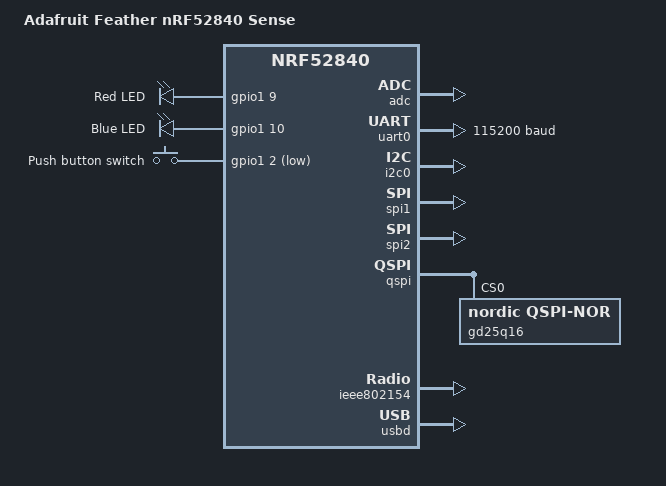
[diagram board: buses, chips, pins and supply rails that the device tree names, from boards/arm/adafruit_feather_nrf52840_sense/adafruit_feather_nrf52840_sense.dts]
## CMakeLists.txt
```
cmake_minimum_required(VERSION 3.20.0)

list(APPEND mcuboot_OVERLAY_CONFIG
  "${CMAKE_CURRENT_LIST_DIR}/mcuboot.conf"
)

list(APPEND DTC_OVERLAY_FILE
  "${CMAKE_CURRENT_LIST_DIR}/proximity.overlay"
  "${CMAKE_CURRENT_LIST_DIR}/usb_cdc.overlay"
)

find_package(Zephyr REQUIRED HINTS $ENV{ZEPHYR_BASE})
project(hello_world)

target_include_directories(app PRIVATE
  "src"
)

if(CONFIG_BENCHMARK_CMSIS_DSP_CODE)
  target_sources(app PRIVATE
    "src/Device.hpp"
    "src/Device.cpp"
    "src/Serial.hpp"
    "src/Serial.cpp"
    "src/IFilter.hpp"
    "src/IIRFilter.hpp"
    "src/MovingAverageFilter.hpp"
    "src/ITransform.hpp"
    "src/Fft.hpp"
    "src/Benchmark.hpp"
    "src/CycleCounter.hpp"
    "src/BenchmarkDSP.cpp"
  )
else()
  target_sources(app PRIVATE
    "src/Color.hpp"
    "src/Color.cpp"
    "src/Timer.hpp"
    "src/Timer.cpp"
    "src/Device.hpp"
    "src/Device.cpp"
    "src/Serial.hpp"
    "src/Serial.cpp"
    "src/Proximity.hpp"
    "src/Proximity.cpp"
    "src/Neopixel.hpp"
    "src/Neopixel.cpp"
    "src/IFilter.hpp"
    "src/IIRFilter.hpp"
    "src/MovingAverageFilter.hpp"
    "src/ITransform.hpp"
    "src/Fft.hpp"
    "src/PpgProcessor.hpp"
    "src/PpgProcessor.cpp"
    "src/HrProcessor.hpp"
    "src/DataCollector.hpp"
    "src/DataCollector.cpp"
    "src/Application.hpp"
    "src/Application.cpp"
    "src/Benchmark.hpp"
    "src/CycleCounter.hpp"
    "src/main.cpp"
  )
endif(CONFIG_BENCHMARK_CMSIS_DSP_CODE)

set_property(TARGET app PROPERTY INTERPROCEDURAL_OPTIMIZATION True)
```

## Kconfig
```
config BENCHMARK_CMSIS_DSP_CODE
	bool "Build special target to benchmark CMSIS DSP code"
	default false
	help
      Instead of building main app target, build specialized target
      for performing code benchmarking

source "Kconfig.zephyr"
```

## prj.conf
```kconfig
# enable bootloader
CONFIG_BOOTLOADER_MCUBOOT=y

# increase main thread stack size
CONFIG_MAIN_STACK_SIZE=16384

# enable C++ and C++ stdlib
CONFIG_CPLUSPLUS=y
CONFIG_STD_CPP20=y
CONFIG_NEWLIB_LIBC=y
CONFIG_NEWLIB_LIBC_NANO=n
CONFIG_LIB_CPLUSPLUS=y

# enable CMSIS-DSP
CONFIG_CMSIS_DSP=y
CONFIG_CMSIS_DSP_FILTERING=y
CONFIG_CMSIS_DSP_TRANSFORM=y
CONFIG_CMSIS_DSP_COMPLEXMATH=y
CONFIG_CMSIS_DSP_TABLES_ALL_FAST=n
CONFIG_CMSIS_DSP_TABLES_ALL_FFT=n
CONFIG_CMSIS_DSP_TABLES_RFFT_FAST_F32_1024=y

# enable logging
CONFIG_LOG=y
CONFIG_LOG_BACKEND_SHOW_COLOR=y
CONFIG_LOG_BUFFER_SIZE=16384

#enable GPIO driver
CONFIG_GPIO=y

# enable I2C and Sensor driver for VCNL4040 proximity
CONFIG_I2C=y
CONFIG_SENSOR=y
# disable VCNL4040 ALS
CONFIG_VCNL4040_ENABLE_ALS=n

# enable SPI and driver for Neopixel
CONFIG_SPI=y
CONFIG_LED_STRIP=y
CONFIG_WS2812_STRIP=y
CONFIG_WS2812_STRIP_SPI=y

# enable USB stack for composite USB CDC and DFU
CONFIG_USB_DEVICE_STACK=y
CONFIG_USB_DEVICE_PRODUCT="VCNL4040 PPG"
CONFIG_USB_DEVICE_PID=0x0001
CONFIG_USB_DEVICE_INITIALIZE_AT_BOOT=n
# CDC configs
CONFIG_USB_COMPOSITE_DEVICE=y
CONFIG_SERIAL=y
CONFIG_CONSOLE=y
CONFIG_UART_CONSOLE=y
CONFIG_UART_LINE_CTRL=y
# DFU configs
CONFIG_USB_DFU_CLASS=y
CONFIG_USB_DFU_ENABLE_UPLOAD=y
CONFIG_USB_DFU_REBOOT=y
CONFIG_USB_DFU_PERMANENT_DOWNLOAD=y
CONFIG_FLASH=y
CONFIG_FLASH_MAP=y
CONFIG_STREAM_FLASH=y
CONFIG_IMG_MANAGER=y
CONFIG_FLASH_PAGE_LAYOUT=y

# custom configs
# enable this to build CMSIS DSP benchmark code
CONFIG_BENCHMARK_CMSIS_DSP_CODE=n
```

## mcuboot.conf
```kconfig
CONFIG_PM_PARTITION_SIZE_MCUBOOT=0x13000
CONFIG_BOOT_MAX_IMG_SECTORS=256
# The build won't fit on the partition allocated for it without size
# optimizations.
CONFIG_SIZE_OPTIMIZATIONS=y
# MCUBoot serial
CONFIG_MCUBOOT_SERIAL=y
CONFIG_BOOT_SERIAL_CDC_ACM=y
# Enable LED
CONFIG_MCUBOOT_INDICATION_LED=y
# Signature file
CONFIG_BOOT_SIGNATURE_TYPE_RSA=y
CONFIG_BOOT_SIGNATURE_KEY_FILE="root-rsa-2048.pem"
```

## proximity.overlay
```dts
&i2c0 {
	vcnl4040@60 {
		compatible = "vishay,vcnl4040";
		reg = <0x60>;
		led-current = <200>;
		led-duty-cycle = <40>;
		proximity-it = "8";
	};
};
```

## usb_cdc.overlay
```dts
&zephyr_udc0 {
	cdc_acm_uart0: cdc_acm_uart0 {
		compatible = "zephyr,cdc-acm-uart";
	};
};
```

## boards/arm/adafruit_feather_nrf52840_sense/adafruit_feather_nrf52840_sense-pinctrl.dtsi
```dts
/*
 * Copyright (c) 2022 Nordic Semiconductor
 * SPDX-License-Identifier: Apache-2.0
 */

&pinctrl {
	uart0_default: uart0_default {
		group1 {
			psels = <NRF_PSEL(UART_TX, 0, 25)>,
				<NRF_PSEL(UART_RX, 0, 24)>;
		};
	};

	uart0_sleep: uart0_sleep {
		group1 {
			psels = <NRF_PSEL(UART_TX, 0, 25)>,
				<NRF_PSEL(UART_RX, 0, 24)>;
			low-power-enable;
		};
	};

	i2c0_default: i2c0_default {
		group1 {
			psels = <NRF_PSEL(TWIM_SDA, 0, 12)>,
				<NRF_PSEL(TWIM_SCL, 0, 11)>;
		};
	};

	i2c0_sleep: i2c0_sleep {
		group1 {
			psels = <NRF_PSEL(TWIM_SDA, 0, 12)>,
				<NRF_PSEL(TWIM_SCL, 0, 11)>;
			low-power-enable;
		};
	};
	
	spi1_default: spi1_default {
		group1 {
			psels = <NRF_PSEL(SPIM_SCK, 0, 14)>,
				<NRF_PSEL(SPIM_MOSI, 0, 13)>,
				<NRF_PSEL(SPIM_MISO, 0, 15)>;
		};
	};

	spi1_sleep: spi1_sleep {
		group1 {
			psels = <NRF_PSEL(SPIM_SCK, 0, 14)>,
				<NRF_PSEL(SPIM_MOSI, 0, 13)>,
				<NRF_PSEL(SPIM_MISO, 0, 15)>;
			low-power-enable;
		};
	};
	
	spi2_default: spi2_default {
		group1 {
			psels = <NRF_PSEL(SPIM_SCK, 0, 17)>,
				<NRF_PSEL(SPIM_MOSI, 0, 16)>,
				<NRF_PSEL(SPIM_MISO, 0, 18)>;
		};
	};

	spi2_sleep: spi2_sleep {
		group1 {
			psels = <NRF_PSEL(SPIM_SCK, 0, 17)>,
				<NRF_PSEL(SPIM_MOSI, 0, 16)>,
				<NRF_PSEL(SPIM_MISO, 0, 18)>;
			low-power-enable;
		};
	};

	qspi_default: qspi_default {
		group1 {
			psels = <NRF_PSEL(QSPI_SCK, 0, 19)>,
				<NRF_PSEL(QSPI_IO0, 0, 17)>,
				<NRF_PSEL(QSPI_IO1, 0, 22)>,
				<NRF_PSEL(QSPI_IO2, 0, 23)>,
				<NRF_PSEL(QSPI_IO3, 0, 21)>,
				<NRF_PSEL(QSPI_CSN, 0, 20)>;
		};
	};

	qspi_sleep: qspi_sleep {
		group1 {
			psels = <NRF_PSEL(QSPI_SCK, 0, 19)>,
				<NRF_PSEL(QSPI_IO0, 0, 17)>,
				<NRF_PSEL(QSPI_IO1, 0, 22)>,
				<NRF_PSEL(QSPI_IO2, 0, 23)>,
				<NRF_PSEL(QSPI_IO3, 0, 21)>,
				<NRF_PSEL(QSPI_CSN, 0, 20)>;
			low-power-enable;
		};
	};

};
```

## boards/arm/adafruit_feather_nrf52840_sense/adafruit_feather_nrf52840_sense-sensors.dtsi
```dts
#include <zephyr/dt-bindings/led/led.h>

&spi2 {
	neopixel: ws2812@0 {
		compatible = "worldsemi,ws2812-spi";

		/* SPI */
		reg = <0>; /* ignored, but necessary for SPI bindings */
		spi-max-frequency = <4000000>;

		/* WS2812 */
		chain-length = <1>; /* arbitrary; change at will */
		spi-one-frame = <0x70>;
		spi-zero-frame = <0x40>;
		color-mapping = <LED_COLOR_ID_GREEN
				LED_COLOR_ID_RED
				LED_COLOR_ID_BLUE>;
	};
};

/ {
	aliases {
		neopixel = &neopixel;
	};
};
```

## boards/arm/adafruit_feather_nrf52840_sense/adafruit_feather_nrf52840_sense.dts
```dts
/*
 * Copyright (c) 2020 Tobias Svehagen
 *
 * SPDX-License-Identifier: Apache-2.0
 */

/dts-v1/;
#include <nordic/nrf52840_qiaa.dtsi>
#include "feather_connector.dtsi"
#include "adafruit_feather_nrf52840_sense-pinctrl.dtsi"
#include "adafruit_feather_nrf52840_sense-sensors.dtsi"

/ {
	model = "Adafruit Feather nRF52840 Sense";
	compatible = "adafruit,feather-nrf52840";

	chosen {
		zephyr,console = &uart0;
		zephyr,shell-uart = &uart0;
		zephyr,uart-mcumgr = &uart0;
		zephyr,bt-mon-uart = &uart0;
		zephyr,bt-c2h-uart = &uart0;
		zephyr,sram = &sram0;
		zephyr,flash = &flash0;
		zephyr,code-partition = &slot0_partition;
		zephyr,ieee802154 = &ieee802154;
	};

	leds {
		compatible = "gpio-leds";
		led0: led_0 {
			gpios = <&gpio1 9 0>;
			label = "Red LED";
		};
		led1: led_1 {
			gpios = <&gpio1 10 0>;
			label = "Blue LED";
		};
	};

	buttons {
		compatible = "gpio-keys";
		button0: button_0 {
			gpios = <&gpio1 2 (GPIO_PULL_UP | GPIO_ACTIVE_LOW)>;
			label = "Push button switch";
		};
	};

	/* These aliases are provided for compatibility with samples */
	aliases {
		led0 = &led0;
		led1 = &led1;
		sw0 = &button0;
		watchdog0 = &wdt0;
		spi-flash0 = &gd25q16;
		bootloader-led0 = &led0;
		mcuboot-button0 = &button0;
		mcuboot-led0 = &led0;
	};
};

&adc {
	status = "okay";
};

&gpiote {
	status = "okay";
};

&gpio0 {
	status = "okay";
};

&gpio1 {
	status = "okay";
};

&uart0 {
	compatible = "nordic,nrf-uart";
	current-speed = <115200>;
	status = "okay";
	pinctrl-0 = <&uart0_default>;
	pinctrl-1 = <&uart0_sleep>;
	pinctrl-names = "default", "sleep";
};

&i2c0 {
	compatible = "nordic,nrf-twi";
	status = "okay";
	pinctrl-0 = <&i2c0_default>;
	pinctrl-1 = <&i2c0_sleep>;
	pinctrl-names = "default", "sleep";
};

&spi1 {
	compatible = "nordic,nrf-spi";
	status = "okay";
	pinctrl-0 = <&spi1_default>;
	pinctrl-1 = <&spi1_sleep>;
	pinctrl-names = "default", "sleep";
};

&spi2 {
	compatible = "nordic,nrf-spi";
	status = "okay";
	pinctrl-0 = <&spi2_default>;
	pinctrl-1 = <&spi2_sleep>;
	pinctrl-names = "default", "sleep";
};

&qspi {
	status = "okay";
	pinctrl-0 = <&qspi_default>;
	pinctrl-1 = <&qspi_sleep>;
	pinctrl-names = "default", "sleep";
	gd25q16: gd25q16@0 {
		compatible = "nordic,qspi-nor";
		reg = <0>;
		writeoc = "pp4o";
		readoc = "read4io";
		sck-frequency = <16000000>;
		jedec-id = [c8 40 15];
		size = <16777216>;
		has-dpd;
		t-enter-dpd = <20000>;
		t-exit-dpd = <20000>;
		quad-enable-requirements = "S2B1v1";
	};
};

&ieee802154 {
	status = "okay";
};

&flash0 {

	partitions {
		compatible = "fixed-partitions";
		#address-cells = <1>;
		#size-cells = <1>;

		boot_partition: partition@0 {
			label = "mcuboot";
			reg = <0x00000000 0x0000C000>;
		};
		slot0_partition: partition@C000 {
			label = "image-0";
			reg = <0x0000C000 0x00067000>;
		};
		slot1_partition: partition@73000 {
			label = "image-1";
			reg = <0x00073000 0x00067000>;
		};
		scratch_partition: partition@da000 {
			label = "image-scratch";
			reg = <0x000da000 0x0001e000>;
		};

		/*
		 * The flash starting at 0x000f8000 and ending at
		 * 0x000fffff is reserved for use by the application.
		 */

		/* Storage partition will be used by FCB/NFFS/NVS if enabled. */
		storage_partition: partition@f8000 {
			label = "storage";
			reg = <0x000f8000 0x00008000>;
		};
	};
};

zephyr_udc0: &usbd {
	compatible = "nordic,nrf-usbd";
	status = "okay";
};
```

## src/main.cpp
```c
#include <zephyr/logging/log.h>
#include <zephyr/kernel.h>

LOG_MODULE_REGISTER(ppg, LOG_LEVEL_INF);

#include "Application.hpp"

int main()
{
    Application app;

    if(!app.run())
    {
        LOG_ERR("Can't run app.");
        return -1;
    }
}
```

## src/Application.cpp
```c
#include <cstdio>

#include <zephyr/device.h>
#include <zephyr/logging/log.h>

LOG_MODULE_DECLARE(ppg);

#include "Application.hpp"

Application::Application()
    : prox_{DEVICE_DT_GET_ONE(vishay_vcnl4040)}
    , neopixel_{DEVICE_DT_GET(DT_ALIAS(neopixel))}
    , serial_{DEVICE_DT_GET_ONE(zephyr_cdc_acm_uart)}
    , ppg_{prox_}
    , hr_{sampleRate_}
    , dataCollector_{ppg_}
{ }

bool Application::run()
{
    // init
    LOG_INF("Initializing hardware...");
    auto status = init();
    if(!status) return false;
    LOG_INF("Hardware initialization successful");
    // main loop
    while(true)
    {
        using namespace std::chrono_literals;
        if(!serial_.isOpen())
        {
            dataCollector_.stop();
            neopixel_.setColor(Color::Color{10, 0, 0});
            // wait for DTR
            LOG_INF("Waiting for USB connection");
            while(!serial_.isOpen())
            {
                k_msleep(100);
            }
            neopixel_.setColor(Color::Color{0, 10, 0});
            LOG_INF("USB connected");
            dataCollector_.start(sampleTime_);
        }
        else
        {
            const auto ppgMeasurement = ppg_.getMeasurement(10ms);
            if(ppgMeasurement.has_value())
            {
                auto bpm = hr_.process(ppgMeasurement.value());
                auto len = snprintf(serialBuf_, sizeof(serialBuf_)
                                , "%" PRIu64 ",%d,%d,%d\r\n"
                                , ppgMeasurement.value().timestamp
                                , ppgMeasurement.value().raw
                                , ppgMeasurement.value().filtered
                                , bpm);
                serial_.write(reinterpret_cast<std::byte*>(serialBuf_), len);
            }
        }
    }
    return true; //< should never reach this point
}

bool Application::init()
{
    if (!prox_.isReady())
    {
        LOG_ERR("Proximity sensor not ready.");
        return false;
    }

    if (!neopixel_.isReady())
    {
        LOG_ERR("Neopixel not ready.");
        return false;
    }

    if(!serial_.enable())
    {
        LOG_ERR("Can't enable serial via USB CDC.");
        return false;
    }
    return true;
}
```

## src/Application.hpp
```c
#ifndef _PPG_APPLICATION_HPP
#define _PPG_APPLICATION_HPP

#include <chrono>

#include "Proximity.hpp"
#include "Neopixel.hpp"
#include "Serial.hpp"

#include "PpgProcessor.hpp"
#include "DataCollector.hpp"
#include "HrProcessor.hpp"

class Application
{
    public:
        Application();
        bool run();
    private:
        bool init();
    private:
        // hardware
        Hardware::Proximity prox_;
        Hardware::Neopixel neopixel_;
        Hardware::Serial serial_;
        // processors
        Processor::Ppg ppg_;
        static constexpr size_t hrSamples_ = 100;
        static constexpr size_t hrSamplesHistory_ = 200;
        Processor::HeartRate<hrSamples_, hrSamplesHistory_> hr_;
        DataCollector dataCollector_;
        // buffers, state vars, etc.
        static constexpr std::size_t serialBufSize_ = 64;
        char serialBuf_[serialBufSize_]{};
    private:
        // configs
        static constexpr uint8_t sampleRate_ = 50; //< Hz
        static constexpr auto sampleTime_ = std::chrono::milliseconds(1000 / sampleRate_);
};

#endif //_PPG_APPLICATION_HPP
```

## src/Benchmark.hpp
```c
#ifndef _PPG_BENCHMARK_HPP
#define _PPG_BENCHMARK_HPP

#include <cstdint>
#include <cstddef>
#include <chrono>
#include <tuple>
#include <type_traits>
#include <utility> //< std::forward

namespace Benchmark
{
    template <typename Rep, size_t CoreFrequency>
    class ICycleCounter
    {
        public:
            using period = std::ratio<1, CoreFrequency>;
            using rep = Rep;
            using duration = std::chrono::duration<rep, period>;
            using time_point = std::chrono::time_point<ICycleCounter>;
            static constexpr bool is_steady = true;
        public:
            virtual time_point now() noexcept = 0;
    };

        // non-void functions
    template <typename CounterT, typename Func, typename... Args
            , typename R = std::invoke_result_t<Func, Args...>
            , std::enable_if_t<!std::is_void_v<R>, int> = 0>
    decltype(auto) benchmark(CounterT& counter, Func&& f, Args&&... args)
    {
        auto startTime = counter.now();
        auto retVal = f(std::forward<Args>(args)...);
        auto endTime = counter.now();
        return std::tuple{endTime - startTime, retVal};
    }

    // void functions
    template <typename CounterT, typename Func, typename... Args
            , typename R = std::invoke_result_t<Func, Args...>
            , std::enable_if_t<std::is_void_v<R>, int> = 0>
    decltype(auto) benchmark(CounterT& counter, Func&& f, Args&&... args)
    {
        auto startTime = counter.now();
        f(std::forward<Args>(args)...);
        auto endTime = counter.now();
        return endTime - startTime;
    }
}

#endif //_PPG_BENCHMARK_HPP
```

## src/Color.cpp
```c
#include "Color.hpp"

namespace Color
{
    void Color::set(const uint8_t red, const uint8_t green, const uint8_t blue)
    {
        r_ = red;
        g_ = green;
        b_ = blue;
    }
}
```

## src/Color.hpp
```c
#ifndef _PPG_COLOR_HPP
#define _PPG_COLOR_HPP

#include <cstdint>
#include <string_view>

namespace Color
{
    class Color
    {
    public:
        constexpr Color(const uint8_t red = 0, const uint8_t green = 0, const uint8_t blue = 0)
            : r_{red}, g_{green}, b_{blue}
        {
        }

        void set(const uint8_t red = 0, const uint8_t green = 0, const uint8_t blue = 0);
        constexpr uint8_t getRed() const { return r_; }
        constexpr uint8_t getGreen() const { return g_; }
        constexpr uint8_t getBlue() const { return b_; }

    private:
        uint8_t r_, g_, b_;
    };
}

#endif //_PPG_COLOR_HPP
```

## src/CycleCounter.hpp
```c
#ifndef _PPG_CYCLE_COUNTER_HPP
#define _PPG_CYCLE_COUNTER_HPP

#include <zephyr/kernel.h>

#include "Benchmark.hpp"

static constexpr uint32_t CpuFrequency = 64000000; //< 64 MHz

class CycleCounter
    : public Benchmark::ICycleCounter<
        uint32_t
        , CpuFrequency
    >
{
    public:
        CycleCounter()
        {
            // enable CYCCNT
            CoreDebug->DEMCR |= CoreDebug_DEMCR_TRCENA_Msk;
            DWT->CTRL |= DWT_CTRL_CYCCNTENA_Msk;
        }

        time_point now() noexcept override
        {
            return time_point{ duration{ DWT->CYCCNT } };
        }
};

#endif //_PPG_CYCLE_COUNTER_HPP
```

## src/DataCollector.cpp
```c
#include "DataCollector.hpp"

#include <zephyr/kernel.h>
#include <zephyr/logging/log.h>

LOG_MODULE_DECLARE(ppg);

DataCollector::DataCollector(Processor::Ppg& ppg)
    : ppg_{ppg}
{ }

void DataCollector::start(const std::chrono::milliseconds& samplingTime)
{
    sampleTimer_.start(samplingTime, [this] { collectData(); });
}

void DataCollector::stop()
{
    sampleTimer_.stop();
}

void DataCollector::collectData()
{
    auto timestamp = static_cast<uint64_t>(k_cycle_get_32()) * 1000000U
                    / sys_clock_hw_cycles_per_sec();
    if(!ppg_.measure(timestamp))
    {
        LOG_WRN("Couldn't measure ppg");
    }
}
```

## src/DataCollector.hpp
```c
#ifndef _PPG_DATA_COLLECTOR_HPP
#define _PPG_DATA_COLLECTOR_HPP

#include <chrono>

#include "Timer.hpp"
#include "PpgProcessor.hpp"

class DataCollector
{
    public:
        DataCollector(Processor::Ppg& ppg);
        void start(const std::chrono::milliseconds& samplingTime);
        void stop();
    private:
        void collectData();
    private:
        Hardware::Timer sampleTimer_;
        Processor::Ppg& ppg_;
};

#endif //_PPG_DATA_COLLECTOR_HPP
```

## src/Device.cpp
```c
#include "Device.hpp"

namespace Hardware
{
    Device::Device(const device* const dev)
        : device_{dev}
    { }

    bool Device::isReady() const
    {
        return device_is_ready(device_);
    }

    const device* Device::getDevicePointer()
    {
        return device_;
    }
}
```

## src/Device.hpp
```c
#ifndef _PPG_DEVICE_HPP
#define _PPG_DEVICE_HPP

#include <zephyr/device.h>

namespace Hardware
{
    class Device
    {
        public:
            Device(const device* const dev);
            bool isReady() const;
            const device* getDevicePointer();
        protected:
            const device* const device_;
    };
}


#endif //_PPG_DEVICE_HPP
```

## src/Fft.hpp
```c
#ifndef _PPG_FFT_HPP
#define _PPG_FFT_HPP

#include <cstdint>
#include <cmath>

#include <arm_math.h>

#include "ITransform.hpp"

namespace Dsp
{
    template <uint16_t Length>
    class Fft
        : public ITransform<float32_t, float32_t, Length, Length>
    {
        public:
            using InputT = ITransform<float32_t, float32_t, Length, Length>::InputT;
            using OutputT = ITransform<float32_t, float32_t, Length, Length>::OutputT;
            using MagnitudeT = std::array<float32_t, Length/2>;
            using AngleT = std::array<float32_t, Length/2>;

            Fft()
            {
                static_assert(Length && !(Length & (Length - 1)), "FFT Length must be power of 2");
                arm_rfft_fast_init_f32(&inst_, Length);
            }

            OutputT transform(const InputT& input) override
            {
                OutputT transformed{};
                InputT inputCopy{input};
                arm_rfft_fast_f32(&inst_, inputCopy.data(), transformed.data(), 0);
                return transformed;
            }

            MagnitudeT getMagnitudeSqr(const InputT& input)
            {
                MagnitudeT mag{};
                auto fftInterleaved = transform(input);
                arm_cmplx_mag_squared_f32(fftInterleaved.data(), mag.data(), mag.size());
                return mag;
            }

            AngleT getAngleRad(const InputT& input)
            {
                AngleT angle{};
                auto fftInterleaved = transform(input);
                for(size_t iFft = 0; iFft < fftInterleaved.size() /2 - 1; ++iFft)
                {
                    angle[iFft] = std::atan2(fftInterleaved[2 * iFft], fftInterleaved[2 * iFft + 1]); 
                }
                return angle;
            }

        private:
            arm_rfft_fast_instance_f32 inst_;
    };
}

#endif //_PPG_FFT_HPP
```
